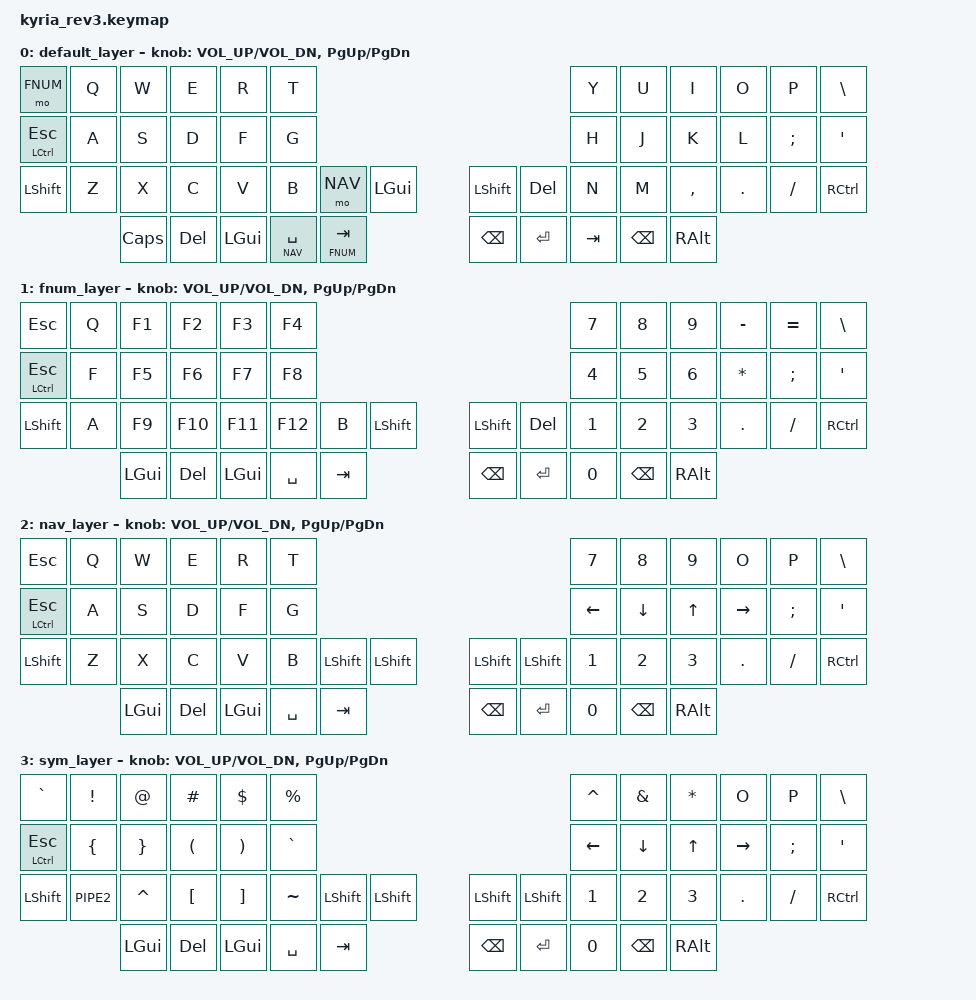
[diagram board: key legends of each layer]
/*
 * Copyright (c) 2023 The ZMK Contributors
 *
 * SPDX-License-Identifier: MIT
 */

#include <behaviors.dtsi>
#include <dt-bindings/zmk/keys.h>

#define DEFAULT 0
#define FNUM    1
#define NAV     2
#define SYM     3

/* Uncomment this block if using RGB
&led_strip {
    chain-length = <6>;
    // chain-length = <31>; // Uncomment if using both per-key and underglow LEDs
    // chain-length = <25>; // Uncomment if using only per-key LEDs.
};
 */

/ {
    keymap {
        compatible = "zmk,keymap";

        default_layer {
            // ---------------------------------------------------------------------------------------------------------------------------------
            // |  LOW  |  Q  |  W  |  E   |  R   |  T   |                                          |  Y   |  U    |  I    |  O   |   P   |   \  |
            // |  VIM  |  A  |  S  |  D   |  F   |  G   |                                          |  H   |  J    |  K    |  L   |   ;   |   '  |
            // | SHIFT |  Z  |  X  |  C   |  V   |  B   |  RAISE  |   GUI   |  | L SHIFT |  DEL    |  N   |  M    |  ,    |  .   |   /   | CTRL |
            //                     | CAPS | DEL  | GUI  |SPACE/NAV| TAB/FNUM|  |   BSPC   |  RET   | TAB  | BSPC  | R-ALT |
            bindings = <
            &mo FNUM      &kp Q &kp W &kp E &kp R &kp T                                                       &kp Y &kp U  &kp I     &kp O   &kp P    &kp BSLH
            &mt LCTRL ESC &kp A &kp S &kp D &kp F &kp G                                                       &kp H &kp J  &kp K     &kp L   &kp SEMI &kp SQT
            &kp LSHFT     &kp Z &kp X &kp C &kp V &kp B   &mo NAV       &kp LGUI            &kp LSHFT &kp DEL &kp N &kp M  &kp COMMA &kp DOT &kp FSLH &kp RCTRL
                                &kp CAPS &kp DEL &kp LGUI &lt NAV SPACE &lt FNUM TAB        &kp BSPC  &kp RET &kp TAB &kp BSPC &kp RALT
            >;

            sensor-bindings = <&inc_dec_kp C_VOL_UP C_VOL_DN &inc_dec_kp PG_UP PG_DN>;
        };


        
        fnum_layer {
            // ---------------------------------------------------------------------------------------------------------------------------------
            // |  ESC  |  Q  |  F1 |  F2  |  F3  |  F4  |                                          |  7   |  8    |  9    |  -   |   =   |   \  |
            // |  VIM  |  A  |  F5 |  F6  |  F7  |  F8  |                                          |  4   |  5    |  6    |  *   |   ;   |   '  |
            // | SHIFT |  Z  |  F9 |  F10 |  F11 |  F12 | L SHIFT | L SHIFT |  | L SHIFT |  DEL    |  1   |  2    |  3    |  .   |   /   | CTRL |
            //                     | GUI  | DEL  | GUI  |  SPACE  |   TAB   |  |   BSPC   |  RET   |  0   | BSPC  | R-ALT |
            bindings = <
            &kp ESC       &kp Q &kp F1 &kp F2  &kp F3  &kp F4                                         &kp N7 &kp N8  &kp N9 &kp MINUS &kp EQUAL  &kp BSLH
            &mt LCTRL ESC &kp F &kp F5 &kp F6  &kp F7  &kp F8                                         &kp N4 &kp N5  &kp N6 &kp STAR  &kp SEMI &kp SQT
            &kp LSHFT     &kp A &kp F9 &kp F10 &kp F11 &kp F12 &kp B &kp LSHFT      &kp LSHFT &kp DEL &kp N1 &kp N2  &kp N3  &kp DOT &kp FSLH &kp RCTRL
            &kp LGUI &kp DEL &kp LGUI &kp SPACE &kp TAB                             &kp BSPC  &kp RET  &kp N0 &kp BSPC &kp RALT
            >;

            sensor-bindings = <&inc_dec_kp C_VOL_UP C_VOL_DN &inc_dec_kp PG_UP PG_DN>;
        };


        nav_layer {
            // ---------------------------------------------------------------------------------------------------------------------------------
            // |  ESC  |  Q  |  W  |  E   |  R   |  T   |                                          |  Y   |  U    |  I    |  O   |   P   |   \  |
            // |  VIM  |  A  |  S  |  D   |  F   |  G   |                                          |  ⬅   |  ⬇    |  ⬆    |  ⮕   |   ;   |   '  |
            // | SHIFT |  Z  |  X  |  C   |  V   |  B   | L SHIFT | L SHIFT |  | L SHIFT | L SHIFT |  N   |  M    |  ,    |  .   |   /   | CTRL |
            //                     | GUI  | DEL  | GUI  |  SPACE  |   TAB   |  |   BSPC   |  RET   | TAB  | BSPC  | R-ALT |
            bindings = <
            &kp ESC &kp Q &kp W &kp E &kp R &kp T                                                        &kp N7 &kp N8  &kp N9 &kp O   &kp P    &kp BSLH
            &mt LCTRL ESC &kp A &kp S &kp D &kp F &kp G                                                  &kp LEFT &kp DOWN &kp UP  &kp RIGHT &kp SEMI &kp SQT
            &kp LSHFT &kp Z &kp X &kp C &kp V &kp B &kp LSHFT &kp LSHFT             &kp LSHFT &kp LSHFT &kp N1 &kp N2  &kp N3  &kp DOT &kp FSLH &kp RCTRL
            &kp LGUI &kp DEL &kp LGUI &kp SPACE &kp TAB                             &kp BSPC  &kp RET  &kp N0 &kp BSPC &kp RALT
            >;

            sensor-bindings = <&inc_dec_kp C_VOL_UP C_VOL_DN &inc_dec_kp PG_UP PG_DN>;
        };

        sym_layer {
            // ---------------------------------------------------------------------------------------------------------------------------------
            // |   `    |  !  |  @  |  #   |  $   |  %   |                                          |  ^   |  &    |  *    |  :   |       |   \  |
            // |        |  {  |  }  |  (   |  )   |  `   |                                          |  -   |  <    |  >    |  '   |   ;   |   '  |
            // |        |  |  |  ^  |  [   |  ]   |  ~   | L SHIFT | L SHIFT |  | L SHIFT | L SHIFT |  _   |  =    |  +    |  "   |   /   | CTRL |
            //                      | GUI  | DEL  | GUI  |  SPACE  |   TAB   |  |  BSPC    |  RET   | TAB  | BSPC  | R-ALT |
            bindings = <
            &kp GRAVE     &kp EXCL  &kp AT    &kp HASH &kp DLLR &kp PRCNT                                                 &kp CARET &kp AMPS  &kp STAR &kp O   &kp P    &kp BSLH
            &mt LCTRL ESC &kp LBRC &kp RBRC  &kp LPAR &kp RPAR &kp GRAVE                                                  &kp LEFT &kp DOWN &kp UP  &kp RIGHT &kp SEMI &kp SQT
            &kp LSHFT     &kp PIPE2 &kp CARET &kp LBKT &kp RBKT &kp TILDE &kp LSHFT &kp LSHFT             &kp LSHFT &kp LSHFT &kp N1 &kp N2  &kp N3  &kp DOT &kp FSLH &kp RCTRL
                                              &kp LGUI &kp DEL  &kp LGUI  &kp SPACE &kp TAB               &kp BSPC  &kp RET &kp N0 &kp BSPC &kp RALT
            >;

            sensor-bindings = <&inc_dec_kp C_VOL_UP C_VOL_DN &inc_dec_kp PG_UP PG_DN>;
        };
    };
};
